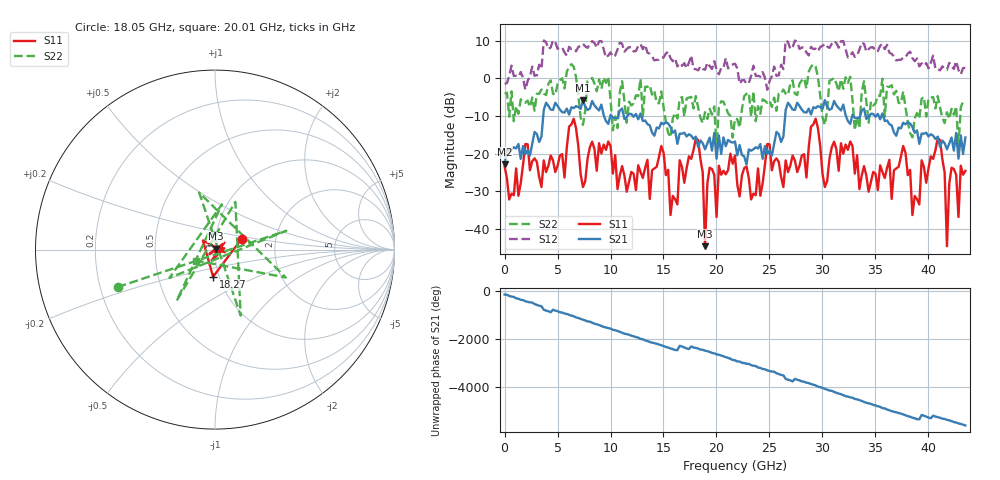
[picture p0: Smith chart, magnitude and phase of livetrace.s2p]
! MS46122B
! 12345/12345
! 1/28/2024 3:07:28 PM
! D:\PC DATA\DESKTOP\PROPOSAL\MATERIAL MEASUREMENT PY\2023-11-10\LIVETRACE.S2P
! CHANNEL.1
! TR.MEASUREMENT
! RAW.DATA
# GHZ S RI R 50.0
! FREQ.GHZ  S11RE  S11IM  S21RE  S21IM  S12RE  S12IM  S22RE  S22IM
!; PortSelection: Port_12
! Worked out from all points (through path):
!   201 points, 1 MHz to 43.5 GHz, reference 50 ohm
!   highest |S21| = -5.78 dB at 7.396 GHz (marker M1); lowest = -22.8 dB at 1 MHz (marker M2)
!   lowest |S11| = -44.5 dB at 18.92 GHz (marker M3), VSWR 1.01, Z = 50.3 + j0.495 ohm
!   |S11| at or under -10 dB: start of sweep to end of sweep
!   |S22| runs from -18.3 to 3.8 dB; largest |S21 - S12| = 3.6
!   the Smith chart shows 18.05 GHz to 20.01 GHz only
!   S11 on the Smith chart (normalised r, x): 18.05 GHz: 1.34, +0.17; 18.27 GHz: 0.94, -0.29; 20.01 GHz: 1.03, +0.01
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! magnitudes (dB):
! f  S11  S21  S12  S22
! 1 MHz  -23.4  -22.8  -1.5  -4.1
! 5.656 GHz  -26.3  -9.1  6.9  -2.7
! 6.526 GHz  -10.7  -7.9  7.9  3.1
! 7.396 GHz  -28.8  -5.8  9.2  -12.4
! 14.57 GHz  -20.8  -13.3  4.9  -6.6
! 15.66 GHz  -36.3  -12.9  5.4  -15.7
! 18.05 GHz  -15.9  -15.5  2.4  -4.7
! 18.27 GHz  -16.4  -18.2  2.1  -7.7
! 18.92 GHz  -44.5  -18.8  2.3  -9.0
! 19.36 GHz  -23.7  -15.7  3.3  -8.1
! 20.01 GHz  -36.8  -21.3  2.2  -18.3
! 21.75 GHz  -20.5  -16.8  3.9  -10.6
! 26.32 GHz  -28.8  -15.4  2.5  -3.0
! 29.15 GHz  -12.2  -7.7  7.8  3.8
! 30.23 GHz  -28.8  -5.8  9.2  -12.4
! 36.32 GHz  -21.6  -12.2  6.8  -2.3
! 38.5 GHz  -36.3  -12.9  5.4  -15.7
! 41.11 GHz  -16.4  -18.2  2.1  -7.7
! 41.76 GHz  -44.5  -18.8  2.3  -9.0
! 42.2 GHz  -23.7  -15.7  3.3  -8.1
! 42.85 GHz  -36.8  -21.3  2.2  -18.3
! 43.5 GHz  -24.6  -15.7  2.7  -6.2
